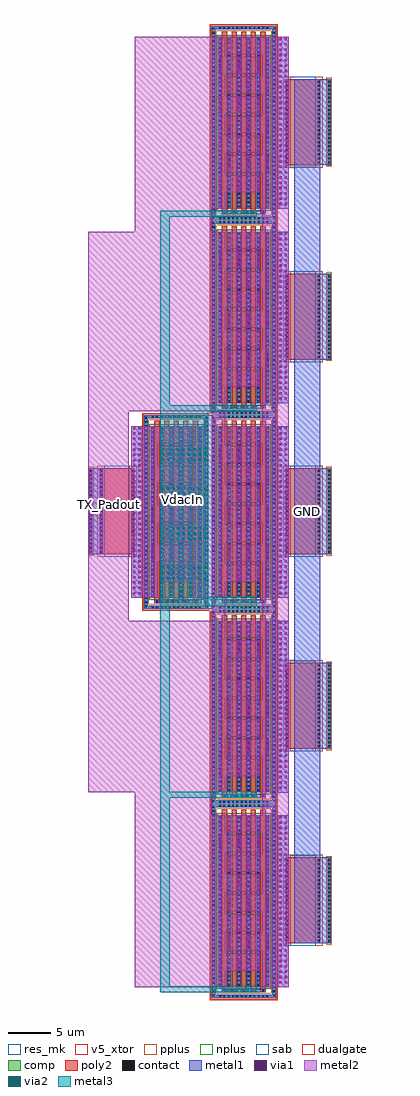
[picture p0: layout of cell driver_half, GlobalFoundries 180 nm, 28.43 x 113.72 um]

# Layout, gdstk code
from math import pi, radians
import gdstk
lib = gdstk.Library(unit=1e-6, precision=1e-09)
def R(c, l, rs):  # rectangles x0, y0, x1, y1
    for r in rs: c.add(gdstk.rectangle(r[:2], r[2:], *l))
def A(c, l, x, y, w, h, nx, ny, dx, dy):  # array of equal rectangles
    R(c, l, [(x+i*dx, y+j*dy, x+i*dx+w, y+j*dy+h) for i in range(nx) for j in range(ny)])
def P(c, l, *ps):  # polygons
    for p in ps: c.add(gdstk.Polygon(p, *l))
comp = (22, 0)
poly2 = (30, 0)
pplus = (31, 0)
nplus = (32, 0)
contact = (33, 0)
metal1 = (34, 0)
via1 = (35, 0)
metal2 = (36, 0)
via2 = (38, 0)
metal3 = (42, 0)
sab = (49, 0)
dualgate = (55, 0)
res_mk = (110, 5)
v5_xtor = (112, 1)

nfet = lib.new_cell('nfet')
R(nfet, comp, [(0,0,5.96,20)])
P(nfet, comp, [(-0.72,-1.28),(-0.72,20.92),(-0.36,20.92),(-0.36,-0.92),(6.32,-0.92),(6.32,20.92),(-0.72,20.92),(-0.72,21.28),(6.68,21.28),(6.68,-1.28)])
A(nfet, poly2, 0.44, -0.62, 0.6, 21.24, 5, 1, 1.12, 0)
P(nfet, pplus, [(-0.88,-1.44),(-0.88,20.76),(-0.2,20.76),(-0.2,-0.76),(6.16,-0.76),(6.16,20.76),(-0.88,20.76),(-0.88,21.44),(6.84,21.44),(6.84,-1.44)])
R(nfet, nplus, [(-0.16,-0.23,6.12,20.23)])
A(nfet, contact, 0.12, -1.21, 0.22, 0.22, 12, 2, 0.5, 22.2)
A(nfet, contact, -0.65, -1.11, 0.22, 0.22, 1, 45, 0, 0.5)
A(nfet, contact, 6.39, -1.11, 0.22, 0.22, 1, 45, 0, 0.5)
A(nfet, contact, 0.07, 0.14, 0.22, 0.22, 6, 40, 1.12, 0.5)
A(nfet, metal1, -0.01, -0.01, 0.38, 20.02, 6, 1, 1.12, 0)
P(nfet, metal1, [(-0.72,-1.28),(-0.72,20.92),(-0.36,20.92),(-0.36,-0.92),(6.32,-0.92),(6.32,20.92),(-0.72,20.92),(-0.72,21.28),(6.68,21.28),(6.68,-1.28)])
R(nfet, dualgate, [(-0.96,-1.52,6.92,21.52)])
R(nfet, v5_xtor, [(-0.96,-1.52,6.92,21.52)])

ppolyf_u_resistor_2 = lib.new_cell('ppolyf_u_resistor$2')
R(ppolyf_u_resistor_2, comp, [(-1.73,0,-1.37,10)])
R(ppolyf_u_resistor_2, poly2, [(-0.51,0,3.51,10)])
R(ppolyf_u_resistor_2, pplus, [(-0.81,-0.3,3.81,10.3), (-1.89,-0.16,-1.21,10.16)])
A(ppolyf_u_resistor_2, contact, -1.66, 0.19, 0.22, 0.22, 1, 21, 0, 0.47)
A(ppolyf_u_resistor_2, contact, -0.44, 0.19, 0.22, 0.22, 1, 21, 0, 0.47)
A(ppolyf_u_resistor_2, contact, 3.22, 0.19, 0.22, 0.22, 1, 21, 0, 0.47)
R(ppolyf_u_resistor_2, metal1, [(-1.73,0,-1.37,10), (-0.5,0.01,-0.16,9.99), (3.16,0.01,3.5,9.99)])
R(ppolyf_u_resistor_2, sab, [(0,-0.28,3,10.28)])
R(ppolyf_u_resistor_2, res_mk, [(0,0,3,10)])

driver_cell = lib.new_cell('driver_cell')
A(driver_cell, contact, 7.93, 0.985, 0.22, 0.22, 5, 1, 1.12, 0)
R(driver_cell, metal1, [(7.74,0.9,12.82,1.28), (5.05,1.505,6.32,6.615), (0.16,6.615,1.73,16.605), (5.05,6.615,6.32,16.595), (5.05,16.595,6.32,21.53)])
A(driver_cell, via1, 5.245, 3.17, 0.26, 0.26, 1, 6, 0, 0.62)
A(driver_cell, via1, 5.865, 3.17, 0.26, 0.26, 1, 6, 0, 0.62)
A(driver_cell, via1, 8.47, 3.515, 0.26, 0.26, 3, 4, 2.24, 0.52)
A(driver_cell, via1, 7.35, 5.815, 0.26, 0.26, 3, 4, 2.24, 0.52)
A(driver_cell, via1, 5.245, 6.895, 0.26, 0.26, 1, 12, 0, 0.62)
A(driver_cell, via1, 5.865, 6.895, 0.26, 0.26, 1, 12, 0, 0.62)
A(driver_cell, via1, 8.47, 8.115, 0.26, 0.26, 3, 4, 2.24, 0.52)
A(driver_cell, via1, 7.35, 10.415, 0.26, 0.26, 3, 4, 2.24, 0.52)
A(driver_cell, via1, 8.47, 12.72, 0.26, 0.26, 3, 4, 2.24, 0.52)
A(driver_cell, via1, 5.245, 14.33, 0.26, 0.26, 1, 6, 0, 0.62)
A(driver_cell, via1, 5.865, 14.33, 0.26, 0.26, 1, 6, 0, 0.62)
A(driver_cell, via1, 7.35, 15.02, 0.26, 0.26, 3, 4, 2.24, 0.52)
A(driver_cell, via1, 8.47, 17.325, 0.26, 0.26, 3, 4, 2.24, 0.52)
A(driver_cell, via1, 5.245, 18.055, 0.26, 0.26, 1, 6, 0, 0.62)
A(driver_cell, via1, 5.865, 18.055, 0.26, 0.26, 1, 6, 0, 0.62)
A(driver_cell, via1, 7.35, 19.625, 0.26, 0.26, 3, 4, 2.24, 0.52)
R(driver_cell, via1, [(5.245,1.935,5.505,2.195), (5.865,1.935,6.125,2.195), (5.245,2.555,5.505,2.815), (5.865,2.555,6.125,2.815)])
A(driver_cell, metal2, 8.41, 8.02, 4.86, 2, 1, 3, 0, 4.605)
A(driver_cell, metal2, 7.29, 10.32, 4.86, 2, 1, 3, 0, 4.605)
R(driver_cell, metal2, [(5.05,1.505,8.11,21.53), (12.45,1.51,13.98,21.53), (8.41,3.42,13.27,5.42), (7.29,5.72,12.15,7.72)])
driver_cell.add(gdstk.Reference(nfet, (7.3,1.52)))
driver_cell.add(gdstk.Reference(ppolyf_u_resistor_2, (1.89,6.605)))

driver_half = lib.new_cell('driver_half')
A(driver_half, comp, 14.445, 22.8, 7.4, 0.11, 1, 4, 0, 22.67)
R(driver_half, pplus, [(14.14,45.42,14.285,68.3)])
A(driver_half, metal1, 14.445, 22.8, 7.4, 0.11, 1, 4, 0, 22.67)
R(driver_half, metal1, [(24.035,6.615,27.035,107.275), (13.98,45.58,14.445,68.14), (12.82,46.24,13.27,46.85), (8.41,46.62,8.79,46.85), (10.65,46.62,11.03,46.85)])
A(driver_half, via1, 16.58, 0.96, 0.26, 0.26, 5, 2, 0.62, 22.67)
A(driver_half, via1, 8.96, 46.3, 0.26, 0.26, 5, 1, 0.62, 0)
A(driver_half, via1, 16.575, 46.3, 0.26, 0.26, 5, 3, 0.62, 22.67)
A(driver_half, metal2, 16.28, 46.24, 3.355, 0.38, 1, 3, 0, 22.67)
R(driver_half, metal2, [(16.285,0.9,19.64,1.28), (5.445,1.51,14.445,24.18), (20.315,1.51,23.37,112.21), (16.285,23.57,19.64,23.95), (0.05,24.18,14.445,44.2), (0.05,44.2,4.75,68.61), (14.445,44.2,15.975,46.85), (8.41,46.24,12.15,46.62), (14.445,66.87,15.975,69.52), (0.05,68.61,14.445,89.54), (5.445,89.54,14.445,112.21)])
A(driver_half, via2, 16.58, 0.96, 0.26, 0.26, 5, 2, 0.62, 22.67)
A(driver_half, via2, 8.485, 46.3, 0.26, 0.26, 6, 1, 0.62, 0)
A(driver_half, via2, 16.575, 46.3, 0.26, 0.26, 5, 3, 0.62, 22.67)
A(driver_half, via2, 8.555, 49.01, 0.26, 0.26, 9, 3, 0.62, 0.62)
A(driver_half, via2, 8.55, 53.61, 0.26, 0.26, 9, 3, 0.62, 0.62)
A(driver_half, via2, 8.555, 58.215, 0.26, 0.26, 9, 3, 0.62, 0.62)
A(driver_half, via2, 8.555, 62.815, 0.26, 0.26, 9, 3, 0.62, 0.62)
R(driver_half, metal3, [(8.41,0.9,9.51,47.001), (8.415,0.9,19.64,1.58), (8.41,23.57,19.635,24.25), (8.41,45.86,9.51,91.96), (8.41,45.86,19.635,47), (8.41,47,13.98,69.29), (8.41,68.61,19.635,69.29), (8.41,91.28,19.635,91.96)])
driver_half.add(gdstk.Reference(driver_cell, (0,45.34)))
driver_half.add(gdstk.Reference(driver_cell, (28.425,45.34), rotation=pi, x_reflection=True))
driver_half.add(gdstk.Reference(driver_cell, (28.425,68.01), rotation=pi, x_reflection=True))
driver_half.add(gdstk.Reference(driver_cell, (28.425,22.67), rotation=pi, x_reflection=True))
driver_half.add(gdstk.Reference(driver_cell, (28.425,90.68), rotation=pi, x_reflection=True))
driver_half.add(gdstk.Reference(driver_cell, (28.425,0), rotation=pi, x_reflection=True))
driver_half.add(gdstk.Label('TX_Padout', (2.47,57.68), layer=36, texttype=10))
driver_half.add(gdstk.Label('GND', (25.535,56.945), layer=34, texttype=10))
driver_half.add(gdstk.Label('VdacIn', (11.035,58.345), layer=42, texttype=10))

lib.write_gds('driver_half.gds')
